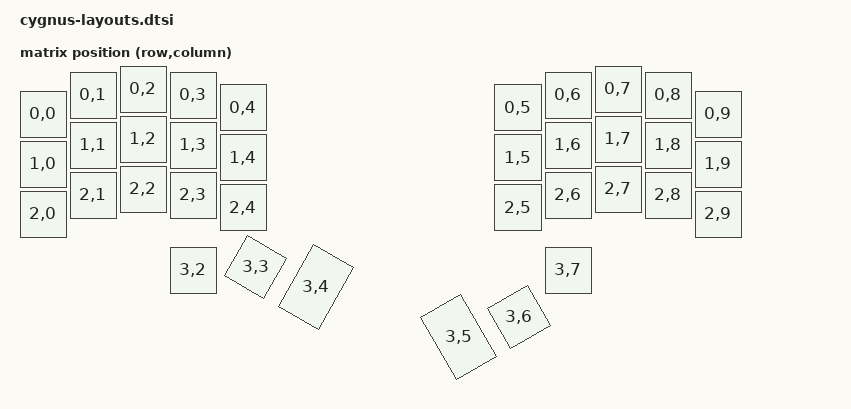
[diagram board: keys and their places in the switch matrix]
/*
 * Copyright (c) 2026 Charly Delay
 *
 * SPDX-License-Identifier: MIT
 */

#include <dt-bindings/zmk/matrix_transform.h>
#include <physical_layouts.dtsi>

/ {
    physical_layout: physical_layout_0 {
        compatible = "zmk,physical-layout";
        display-name = "Layout";
        transform = <&default_transform>;

        keys  //                     w   h    x    y     rot    rx    ry
            = <&key_physical_attrs 100 100    0   50       0     0     0>
            , <&key_physical_attrs 100 100  100   12       0     0     0>
            , <&key_physical_attrs 100 100  200    0       0     0     0>
            , <&key_physical_attrs 100 100  300   12       0     0     0>
            , <&key_physical_attrs 100 100  400   37       0     0     0>
            , <&key_physical_attrs 100 100  950   37       0     0     0>
            , <&key_physical_attrs 100 100 1050   12       0     0     0>
            , <&key_physical_attrs 100 100 1150    0       0     0     0>
            , <&key_physical_attrs 100 100 1250   12       0     0     0>
            , <&key_physical_attrs 100 100 1350   50       0     0     0>
            , <&key_physical_attrs 100 100    0  150       0     0     0>
            , <&key_physical_attrs 100 100  100  112       0     0     0>
            , <&key_physical_attrs 100 100  200  100       0     0     0>
            , <&key_physical_attrs 100 100  300  112       0     0     0>
            , <&key_physical_attrs 100 100  400  137       0     0     0>
            , <&key_physical_attrs 100 100  950  137       0     0     0>
            , <&key_physical_attrs 100 100 1050  112       0     0     0>
            , <&key_physical_attrs 100 100 1150  100       0     0     0>
            , <&key_physical_attrs 100 100 1250  112       0     0     0>
            , <&key_physical_attrs 100 100 1350  150       0     0     0>
            , <&key_physical_attrs 100 100    0  250       0     0     0>
            , <&key_physical_attrs 100 100  100  212       0     0     0>
            , <&key_physical_attrs 100 100  200  200       0     0     0>
            , <&key_physical_attrs 100 100  300  212       0     0     0>
            , <&key_physical_attrs 100 100  400  237       0     0     0>
            , <&key_physical_attrs 100 100  950  237       0     0     0>
            , <&key_physical_attrs 100 100 1050  212       0     0     0>
            , <&key_physical_attrs 100 100 1150  200       0     0     0>
            , <&key_physical_attrs 100 100 1250  212       0     0     0>
            , <&key_physical_attrs 100 100 1350  250       0     0     0>
            , <&key_physical_attrs 100 100  300  362       0     0     0>
            , <&key_physical_attrs 100 100  450  362    3000   500   362>
            , <&key_physical_attrs 100 150  575  312    3000   500   362>
            , <&key_physical_attrs 100 150  775  312 (-3000)  1150   362>
            , <&key_physical_attrs 100 100  900  362 (-3000)  1150   362>
            , <&key_physical_attrs 100 100 1050  362       0     0     0>
            ;
    };

    default_transform: keymap_transform_0 {
        compatible = "zmk,matrix-transform";
        columns = <10>;
        rows = <4>;
        map = <
          RC(0,0) RC(0,1) RC(0,2) RC(0,3) RC(0,4)   RC(0,5) RC(0,6) RC(0,7) RC(0,8) RC(0,9)
          RC(1,0) RC(1,1) RC(1,2) RC(1,3) RC(1,4)   RC(1,5) RC(1,6) RC(1,7) RC(1,8) RC(1,9)
          RC(2,0) RC(2,1) RC(2,2) RC(2,3) RC(2,4)   RC(2,5) RC(2,6) RC(2,7) RC(2,8) RC(2,9)
                          RC(3,2) RC(3,3) RC(3,4)   RC(3,5) RC(3,6) RC(3,7)
        >;
    };
};
